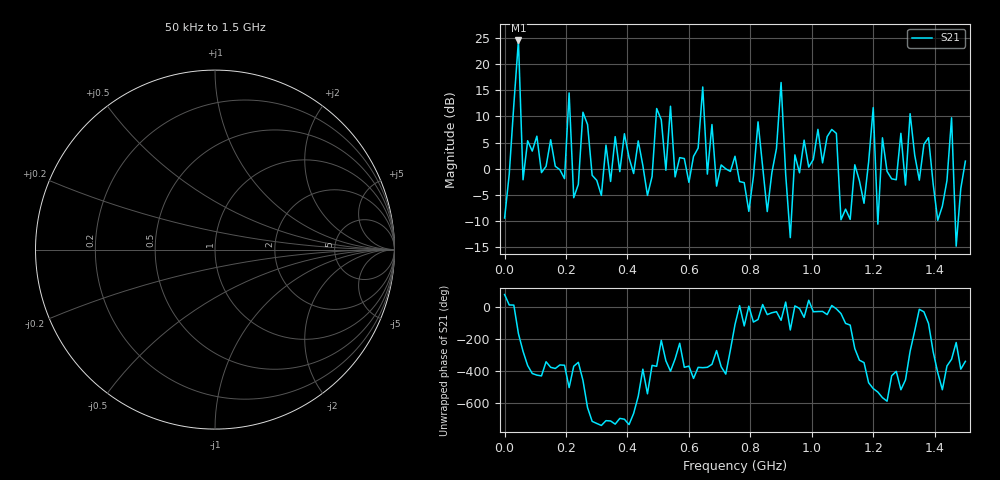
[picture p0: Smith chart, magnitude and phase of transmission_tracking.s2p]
! Created with skrf 1.8.0 (http://scikit-rf.org).
# Hz S RI R 50.0
!freq ReS11 ImS11 ReS21 ImS21 ReS12 ImS12 ReS22 ImS22
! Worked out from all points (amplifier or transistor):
!   101 points, 50 kHz to 1.5 GHz, reference 50 ohm
!   highest |S21| = 24.6 dB at 45.05 MHz (marker M1)
!   |S21| within 3 dB of that: 41.4 MHz to 46.73 MHz (5.331 MHz wide, 12.1 % of centre)
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50000  0 0  0.0639 0.3298  0 0  0 0
3.0049e7  0 0  3.985 0.9098  0 0  0 0
4.50485e7  0 0  -16.41 -4.118  0 0  0 0
6.0048e7  0 0  0.0907 0.7762  0 0  0 0
7.50475e7  0 0  1.839 -0.1907  0 0  0 0
1.950435e8  0 0  0.7991 -0.0544  0 0  0 0
2.10043e8  0 0  -4.309 -3.108  0 0  0 0
2.550415e8  0 0  -0.4875 -3.434  0 0  0 0
2.70041e8  0 0  -0.0178 2.643  0 0  0 0
4.350355e8  0 0  -1.747 0.585  0 0  0 0
4.950335e8  0 0  3.703 -0.692  0 0  0 0
5.10033e8  0 0  -2.595 1.375  0 0  0 0
6.150295e8  0 0  0.0803 -1.308  0 0  0 0
6.450285e8  0 0  5.73 -1.975  0 0  0 0
6.60028e8  0 0  0.8473 -0.2573  0 0  0 0
7.50025e8  0 0  -0.4295 -1.241  0 0  0 0
8.850205e8  0 0  1.37 -0.7452  0 0  0 0
9.0002e8  0 0  0.8834 -6.631  0 0  0 0
9.150195e8  0 0  0.7447 0.4648  0 0  0 0
1.005016e9  0 0  1.073 -0.5903  0 0  0 0
1.260008e9  0 0  0.2752 -0.7489  0 0  0 0
1.5e9  0 0  1.105 0.4142  0 0  0 0
